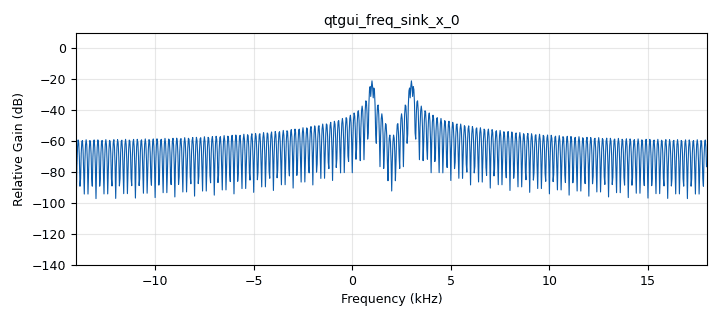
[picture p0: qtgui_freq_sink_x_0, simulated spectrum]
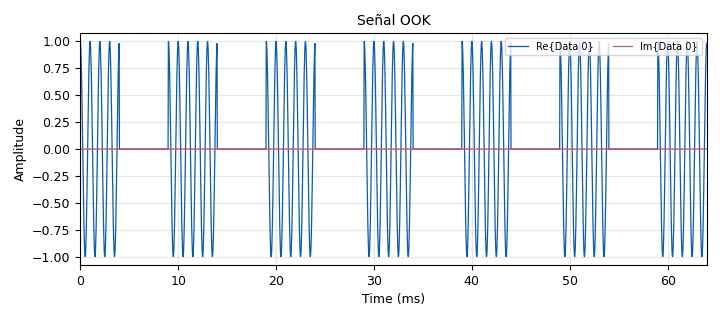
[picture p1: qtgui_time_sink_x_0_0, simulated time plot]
options:
  parameters:
    author: Hugo Martínez
    generate_options: qt_gui
    id: transformada
    output_language: python
    title: Not titled yet
  states: {}

blocks:
- name: samp_rate
  id: variable
  parameters:
    value: '32000'
  states: {}
- name: analog_sig_source_x_0_0
  id: analog_sig_source_x
  parameters:
    amp: '1'
    freq: '100'
    offset: '0'
    phase: '0'
    samp_rate: samp_rate
    type: float
    waveform: analog.GR_SQR_WAVE
  states: {}
- name: analog_sig_source_x_1_0
  id: analog_sig_source_x
  parameters:
    amp: '1'
    freq: '1000'
    offset: '0'
    phase: '0'
    samp_rate: samp_rate
    type: float
    waveform: analog.GR_COS_WAVE
  states: {}
- name: blocks_float_to_complex_0_0
  id: blocks_float_to_complex
  parameters: {}
  states: {}
- name: blocks_multiply_xx_1_0
  id: blocks_multiply_xx
  parameters:
    type: float
  states: {}
- name: qtgui_freq_sink_x_0
  id: qtgui_freq_sink_x
  parameters:
    bw: samp_rate
    fc: '2000'
    fftsize: '1024'
    type: float
  states: {}
- name: qtgui_time_sink_x_0_0
  id: qtgui_time_sink_x
  parameters:
    name: '"Señal OOK"'
    size: '2048'
    srate: samp_rate
    type: complex
  states: {}

connections:
- [analog_sig_source_x_0_0, '0', blocks_multiply_xx_1_0, '0']
- [analog_sig_source_x_1_0, '0', blocks_multiply_xx_1_0, '1']
- [blocks_float_to_complex_0_0, '0', qtgui_time_sink_x_0_0, '0']
- [blocks_multiply_xx_1_0, '0', blocks_float_to_complex_0_0, '0']
- [blocks_multiply_xx_1_0, '0', qtgui_freq_sink_x_0, '0']

metadata:
  file_format: 1
  grc_version: 3.10.12.0
